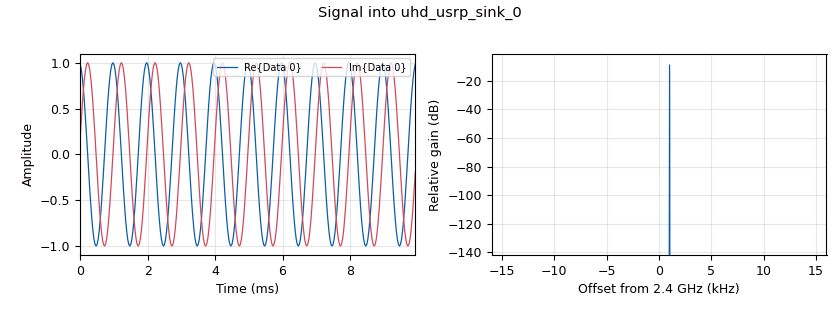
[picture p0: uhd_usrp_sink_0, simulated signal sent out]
options:
  parameters:
    generate_options: no_gui
    id: alpha_stable_generator
    output_language: python
    run_options: run
    title: Alpha stable simulation
  states: {}

blocks:
- name: alpha_map
  id: variable
  parameters:
    value: '[float(x) for x in alpha_map_str.split(",")]'
  states: {}
- name: beta_map
  id: variable
  parameters:
    value: '[float(x) for x in beta_map_str.split(",")]'
  states: {}
- name: gama_map
  id: variable
  parameters:
    value: '[float(x) for x in gama_map_str.split(",")]'
  states: {}
- name: samp_rate
  id: variable
  parameters:
    value: '32000'
  states: {}
- name: L
  id: parameter
  parameters:
    type: intx
    value: '8'
  states: {}
- name: alpha_map_str
  id: parameter
  parameters:
    type: str
    value: '"1.2,1.4,1.6,1.8"'
  states: {}
- name: analog_random_source_x_0
  id: analog_random_source_x
  parameters:
    max: '255'
    min: '0'
    num_samps: source_number_of_samples
    repeat: 'True'
    type: byte
  states: {state: disabled}
- name: analog_sig_source_x_0
  id: analog_sig_source_x
  parameters:
    amp: '1'
    freq: '1000'
    offset: '0'
    phase: '0'
    samp_rate: samp_rate
    type: complex
    waveform: analog.GR_COS_WAVE
  states: {}
- name: beta_map_str
  id: parameter
  parameters:
    type: str
    value: '"-1.0,1.0"'
  states: {}
- name: blocks_file_sink_0
  id: blocks_file_sink
  parameters:
    file: source_file
    type: byte
  states: {state: disabled}
- name: blocks_head_0
  id: blocks_head
  parameters:
    num_items: source_number_of_samples
    type: byte
  states: {state: disabled}
- name: decoded_file
  id: parameter
  parameters:
    type: str
    value: r"C:\Users\ANEDCD~1\Desktop\3.letnik\Diploma\simulations\decoded.bin"
  states: {}
- name: encoded_file
  id: parameter
  parameters:
    type: str
    value: r"C:\Users\ANEDCD~1\Desktop\3.letnik\Diploma\simulations\encoded.bin"
  states: {}
- name: eos_timeout
  id: parameter
  parameters:
    label: EOS_timeout
    type: eng_float
    value: '3.0'
  states: {}
- name: epy_block_0
  id: epy_block
  parameters:
    _source_code: |-
      """
      GNU Radio Embedded Python Block: alpha_encoder

      Kodira vhodne bajte v serijo vzorcev alfa-stabilne porazdelitve.
      """

      import numpy as np
      from gnuradio import gr
      import sys
      import time  # fallback-only now, see comments below



      class alpha_encoder(gr.basic_block):
          """Kodira bajte v serijo vzorcev alfa-stabilne porazdelitve."""

          def __init__(
              self, 
              alpha_map=[1.2, 1.4, 1.6, 1.8], 
              beta_map=[-1.0, 1.0],
              gama_map=[0.5, 1.0, 1.5, 2.0],
              samples_per_symbol=500,
              encode_alpha=False,
              encode_beta=True,
              encode_gama=False,
              eos_timeout=2.0,
              expected_input_bytes=None,
          ):
              gr.basic_block.__init__(
                  self,
                  name="alpha_encoder",
                  in_sig=[np.uint8],
                  out_sig=[np.complex64],
              )

              self.alpha_map = list(alpha_map)
              self.beta_map = list(beta_map)
              self.gama_map = list(gama_map)
              self.samples_per_symbol = int(samples_per_symbol)
              self.encode_alpha = bool(encode_alpha)
              self.encode_beta = bool(encode_beta)
              self.encode_gama = bool(encode_gama)

              self._bit_buffer = [] #mogoče vržemo potem ven
              #ta buffer bo ostal ker ima ful smisla da ostane boj input če ga preberem morem prebrat cel byte, če ne shranim moji padatki izginejo to je najbolj simple način kako se tega rešiti

              self._eos_reached = False #zato da lahko se samo ustavi
              self._ever_received_input = False #če tega ni bi lahko scheduler klical general_work preden dobi karkoli in konča predčasno

              # Fallback-only timing state (kept in case expected_input_bytes is not provided)
              self.eos_timeout = float(eos_timeout)
              self._last_input_time = None

              # NEW: deterministic byte-count tracking (this is the real fix)
              self.expected_input_bytes = (
                  int(expected_input_bytes) if expected_input_bytes is not None else None
              )
              self._total_bytes_seen = 0  # running total of bytes consumed so far this run

              if self.samples_per_symbol <= 0:
                  raise ValueError("samples_per_symbol must be pozitive number")
              if self.encode_alpha and not self.is_power_of_two(len(self.alpha_map)):
                  raise ValueError("The size of alpha_map must be 2^n")
              if self.encode_beta and not self.is_power_of_two(len(self.beta_map)):
                  raise ValueError("The size of beta_map must be 2^n")
              if self.encode_gama and not self.is_power_of_two(len(self.gama_map)):
                  raise ValueError("The size of gama_map must be 2^n")

              self.bits_alpha = self.log2_za_potence2(len(self.alpha_map)) if self.encode_alpha else 0
              self.bits_beta  = self.log2_za_potence2(len(self.beta_map))  if self.encode_beta  else 0
              self.bits_gama  = self.log2_za_potence2(len(self.gama_map))  if self.encode_gama  else 0
              self.bits_per_symbol = self.bits_alpha + self.bits_beta + self.bits_gama # log(map_size) nam pove koliko bitov lahko predstavimo z vsakim parametrom, če to seštejemo imamo število bitov glede na semple

              if self.bits_per_symbol <= 0:
                  raise ValueError("At least one of encode_alpha, encode_beta, encode_gama nust be True")

          def forecast(self, noutput_items, ninputs):
              return [0] * int(ninputs)

          @staticmethod
          def is_power_of_two(x):
              return x > 0 and (x & (x - 1)) == 0

          @staticmethod
          def log2_za_potence2(x):
              if x == 0:
                  return 0
              if alpha_encoder.is_power_of_two(x):
                  vrednost = 0
                  while x > 1:
                      x >>= 1
                      vrednost += 1
                  return vrednost
              raise ValueError("One of the mups is not the size of 2^n (something went wrong, this mesage should not be reachable)")

          @staticmethod
          def alpha_stable(size, alpha=1.1, beta=0.0, gama=1.0): #default walues that should be the best, encoding
              v_values = np.random.uniform(-np.pi / 2, np.pi / 2, size)
              w_values = np.random.exponential(1, size)

              constant = beta * np.tan(np.pi * alpha / 2)
              shift = np.arctan(constant)
              scale = (1 + constant ** 2) ** (1 / (2 * alpha))

              samples = (
                  scale
                  * np.sin(alpha * v_values + shift)
                  / (np.cos(v_values)) ** (1 / alpha)
                  * (np.cos((1 - alpha) * v_values - shift) / w_values) ** ((1 - alpha) / alpha)
              )
              return gama * samples

          @staticmethod
          def _read_bits(bit_buffer, start, count):
              #Kadar enkodiram za en simbol morem vedet kolko bitov lahko ta simbol enkoda (count parameter)
              #pazi ker vrne niz kjer je prvi prebran bit least significant, torej obrne (načeloma je vseeno samo rabiš upoštevat pri kodiranju da daš tud obrnt mapo)
              value = 0
              for index in range(count):
                  value |= (bit_buffer[start + index] << index)
              return value

          #iz inputa preberi vse BYTE in vrni v bit_buffer 
          def _append_input_bits(self, input_bytes):
              for byte in input_bytes:
                  byte_value = int(byte)
                  for bit_index in range(8):
                      self._bit_buffer.append((byte_value >> bit_index) & 1) #dubi samo zadnji bit zato &1  uno pa premakne na pravo mesto binary shift ku v c++

          def _encode_one_symbol(self, bit_offset):
              alpha = 1.1
              beta = 0.0
              gama = 1.0
              offset = bit_offset

              if self.encode_alpha:
                  alpha_index = self._read_bits(self._bit_buffer, offset, self.bits_alpha)
                  alpha = self.alpha_map[alpha_index]
                  offset += self.bits_alpha

              if self.encode_beta:
                  beta_index = self._read_bits(self._bit_buffer, offset, self.bits_beta)
                  beta = self.beta_map[beta_index]
                  offset += self.bits_beta

              if self.encode_gama:
                  gama_index = self._read_bits(self._bit_buffer, offset, self.bits_gama)
                  gama = self.gama_map[gama_index]
                  offset += self.bits_gama

              return alpha, beta, gama

          def general_work(self, input_items, output_items):
              input_bytes = input_items[0]
              output_samples = output_items[0]

              '''
              if not hasattr(self, '_dbg_call'):
                  self._dbg_call = 0
              self._dbg_call += 1 # da vem kolkokrat pokličem ta blok general_work
              c = self._dbg_call
              print(f"[ENC #{c}] id={id(self)} in={len(input_bytes)} out_buf={len(output_samples)} bit_buf={len(self._bit_buffer)} eos={self._eos_reached} ever={self._ever_received_input} seen={self._total_bytes_seen}/{self.expected_input_bytes}", file=sys.stderr, flush=True) 
              ''' #debuging

              if len(input_bytes) > 0:
                  self._ever_received_input = True
                  self._eos_reached = False
                  self._last_input_time = time.time()  # fallback bookkeeping only
                  self._total_bytes_seen += len(input_bytes)  # NEW: exact running count
                  self._append_input_bits(input_bytes) #direktno preberi dol iz inputa za delo naprej
                  self.consume(0, len(input_bytes)) # to je za GNU radio da mu povem kolko podatkov sem pobral dol z vhoda, v tem klicu general work ostaja input_samples enak stream se ne nadaljuje po tem ko sem v tem bloku to je pomembno ker drugače ne bi smel delati tako

                  if (
                      self.expected_input_bytes is not None
                      and self._total_bytes_seen >= self.expected_input_bytes
                  ):
                      self._eos_reached = True

              elif self._ever_received_input:
                  if (time.time() - self._last_input_time) >= self.eos_timeout:
                      self._eos_reached = True
              else:
                  # Če nikoli še nisem dubu podatkov samo loopi dokler jih ne dobim
                  return 0
              
              if self._eos_reached and 0 < len(self._bit_buffer) < self.bits_per_symbol:
                  # Zadnji delni simbol dopolnimo z ničlami, da ga še lahko zakodiramo, drugače lahko imamo v bit_bufferju ostanek če vhod ni deljiv z bits_per_symbol
                  self._bit_buffer.extend([0] * (self.bits_per_symbol - len(self._bit_buffer)))
              
              # Encode as many symbols as we can fit in the output buffer
              max_symbols = len(output_samples) // self.samples_per_symbol #buffer ima v GNU radio omejeno velikost za output smiselno sicer ampak jaz bi šopal rad podatke čez
              produced_symbols = 0
              bit_offset = 0

              while (
                  produced_symbols < max_symbols #če gremo čez bomo pisali v prazno in zgubili podatke, ne prekoračit bufferja
                  and len(self._bit_buffer) - bit_offset >= self.bits_per_symbol #v bit_bufferju rabim zadosti simbolov da encodam celotno 
              ):
                  alpha, beta, gama = self._encode_one_symbol(bit_offset)
                  samples = self.alpha_stable(
                      self.samples_per_symbol, alpha=alpha, beta=beta, gama=gama
                  ).astype(np.complex64)

                  start = produced_symbols * self.samples_per_symbol
                  end = start + self.samples_per_symbol
                  output_samples[start:end] = samples

                  produced_symbols += 1
                  bit_offset += self.bits_per_symbol

              if bit_offset > 0:
                  self._bit_buffer = self._bit_buffer[bit_offset:] #zamakni seznam vrži stran vse kar sem že predelal

              #print(f"[ENC #{c}] produced={produced_symbols} samples={produced_symbols*self.samples_per_symbol} bit_buf_after={len(self._bit_buffer)}", file=sys.stderr, flush=True)

              if produced_symbols > 0:
                  return produced_symbols * self.samples_per_symbol

              if self._eos_reached and len(self._bit_buffer) < self.bits_per_symbol:
                  #print(f"[ENC #{c}] WORK_DONE", file=sys.stderr, flush=True)
                  return gr.WORK_DONE #to je GNU radio način da pove da je blok končal delo

              return 0
    alpha_map: alpha_map
    beta_map: beta_map
    encode_alpha: 'False'
    encode_beta: 'True'
    encode_gama: 'False'
    eos_timeout: eos_timeout
    expected_input_bytes: source_number_of_samples
    gama_map: gama_map
    samples_per_symbol: samples_per_symbol
  states: {state: disabled}
- name: gama_map_str
  id: parameter
  parameters:
    type: str
    value: '"0.5,1.0,1.5,2.0"'
  states: {}
- name: noise_ratio
  id: parameter
  parameters:
    type: eng_float
    value: '10'
  states: {}
- name: samples_per_symbol
  id: parameter
  parameters:
    type: intx
    value: '24'
  states: {}
- name: source_file
  id: parameter
  parameters:
    type: str
    value: r"C:\Users\Uporabnik\Documents\GitHub\Diploma\SDR_alpha_stable\sender\source.bin"
  states: {}
- name: source_number_of_samples
  id: parameter
  parameters:
    type: intx
    value: '128'
  states: {}
- name: uhd_usrp_sink_0
  id: uhd_usrp_sink
  parameters:
    ant0: '"TX/RX"'
    center_freq0: '2400000000'
    dev_addr: '"source=30F4194"'
    gain0: '0'
    samp_rate: samp_rate
    sync: sync
    type: fc32
  states: {}

connections:
- [analog_random_source_x_0, '0', blocks_head_0, '0']
- [analog_sig_source_x_0, '0', uhd_usrp_sink_0, '0']
- [blocks_head_0, '0', blocks_file_sink_0, '0']
- [blocks_head_0, '0', epy_block_0, '0']
- [epy_block_0, '0', uhd_usrp_sink_0, '0']

metadata:
  file_format: 1
  grc_version: 3.10.12.0
